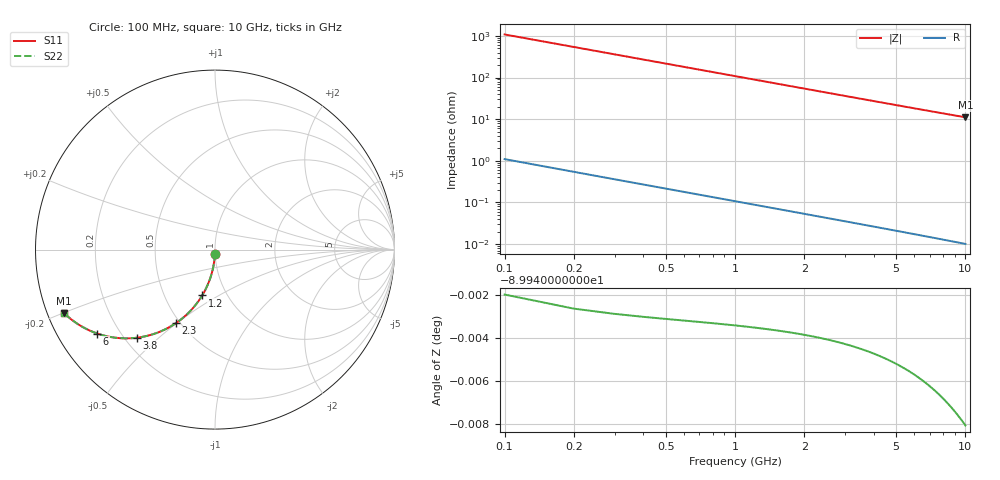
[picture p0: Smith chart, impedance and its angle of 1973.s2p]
# Hz S RI R 50.00
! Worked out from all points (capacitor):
!   100 points, 100 MHz to 10 GHz, reference 50 ohm
!   read as one part in shunt: C = 1.47 pF near 100 MHz
!   lowest |Z| = 11.1 ohm at 10 GHz (marker M1)
!   S11 on the Smith chart (normalised r, x): 100 MHz: 1.00, -0.05; 1.2 GHz: 0.77, -0.42; 2.3 GHz: 0.47, -0.50; 3.8 GHz: 0.25, -0.43; 6 GHz: 0.12, -0.32; 10 GHz: 0.05, -0.20
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1e8  -0.000516 -0.0229  0.9994 -0.0231  0.9994 -0.0231  -0.000516 -0.0229
2e8  -0.00212 -0.0457  0.9978 -0.0462  0.9978 -0.0462  -0.00212 -0.0457
3e8  -0.00478 -0.0684  0.9951 -0.0691  0.9951 -0.0691  -0.00478 -0.0684
4e8  -0.00846 -0.0909  0.9915 -0.0918  0.9915 -0.0918  -0.00846 -0.0909
5e8  -0.0132 -0.113  0.9868 -0.1142  0.9868 -0.1142  -0.0132 -0.113
6e8  -0.0188 -0.1349  0.9811 -0.1362  0.9811 -0.1362  -0.0188 -0.1349
7e8  -0.0254 -0.1563  0.9745 -0.1578  0.9745 -0.1578  -0.0254 -0.1563
9e8  -0.0413 -0.1976  0.9586 -0.1996  0.9586 -0.1996  -0.0413 -0.1976
1.2e9  -0.0711 -0.2552  0.9288 -0.2579  0.9288 -0.2579  -0.0711 -0.2552
1.5e9  -0.1067 -0.3066  0.8932 -0.31  0.8932 -0.31  -0.1067 -0.3066
1.8e9  -0.1467 -0.3513  0.8532 -0.3554  0.8532 -0.3554  -0.1467 -0.3513
2.3e9  -0.2191 -0.4105  0.7808 -0.4158  0.7808 -0.4158  -0.2191 -0.4105
2.8e9  -0.2935 -0.4517  0.7064 -0.4581  0.7064 -0.4581  -0.2935 -0.4517
3.4e9  -0.3798 -0.481  0.6201 -0.4887  0.6201 -0.4887  -0.3798 -0.481
3.8e9  -0.4333 -0.4907  0.5666 -0.4994  0.5666 -0.4994  -0.4333 -0.4907
4.4e9  -0.5061 -0.4944  0.4938 -0.5045  0.4938 -0.5045  -0.5061 -0.4944
5.1e9  -0.5792 -0.4873  0.4207 -0.499  0.4207 -0.499  -0.5792 -0.4873
6e9  -0.6558 -0.4677  0.3441 -0.4815  0.3441 -0.4815  -0.6558 -0.4677
6.7e9  -0.7038 -0.4483  0.296 -0.4638  0.296 -0.4638  -0.7038 -0.4483
7.5e9  -0.7486 -0.4245  0.2511 -0.4419  0.2511 -0.4419  -0.7486 -0.4245
8.4e9  -0.7889 -0.3977  0.2108 -0.4172  0.2108 -0.4172  -0.7889 -0.3977
1e10  -0.8415 -0.3528  0.1582 -0.3763  0.1582 -0.3763  -0.8415 -0.3528
